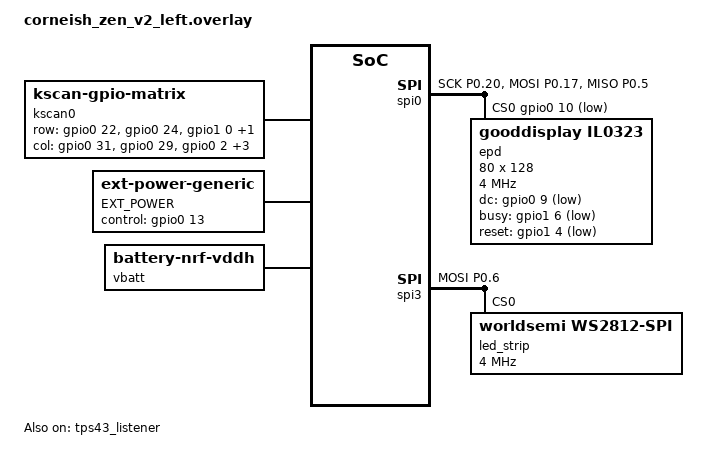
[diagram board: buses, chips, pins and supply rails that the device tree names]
/*
*
* Copyright (c) 2021 Darryl deHaan
* SPDX-License-Identifier: MIT
*
*/

#include "corneish_zen.dtsi"
#include <dt-bindings/led/led.h>
#include <zmk-input-inertia/input/processor/input_inertia.dtsi>

/ {
    chosen {
        zephyr,display = &epd;
        zmk,battery = &vbatt;
        zmk,underglow = &led_strip;
    };

    kscan0: kscan {
        compatible = "zmk,kscan-gpio-matrix";
        wakeup-source;
        diode-direction = "col2row";
        row-gpios
            = <&gpio0 22 (GPIO_ACTIVE_HIGH | GPIO_PULL_DOWN)>
            , <&gpio0 24 (GPIO_ACTIVE_HIGH | GPIO_PULL_DOWN)>
            , <&gpio1 0 (GPIO_ACTIVE_HIGH | GPIO_PULL_DOWN)>
            , <&gpio0 11 (GPIO_ACTIVE_HIGH | GPIO_PULL_DOWN)>
            ;

        col-gpios
            = <&gpio0 31 GPIO_ACTIVE_HIGH>
            , <&gpio0 29 GPIO_ACTIVE_HIGH>
            , <&gpio0 2 GPIO_ACTIVE_HIGH>
            , <&gpio1 15 GPIO_ACTIVE_HIGH>
            , <&gpio1 13 GPIO_ACTIVE_HIGH>
            , <&gpio1 11 GPIO_ACTIVE_HIGH>
            ;
    };

    ext-power {
        compatible = "zmk,ext-power-generic";
        label = "EXT_POWER";
        control-gpios = <&gpio0 13 GPIO_ACTIVE_HIGH>;
        init-delay-ms = <50>;
    };

    vbatt: vbatt {
        compatible = "zmk,battery-nrf-vddh";
    };
};

/*
 * The TPS43 is physically on the right peripheral. The input-split device in
 * corneish_zen.dtsi recreates its relative pointer events here on the central
 * half; this listener turns those events into HID mouse reports.
 */
&tps43_listener {
    status = "okay";
    input-processors = <&zip_inertia>;
};

/*
 * Trackball-like cursor momentum.
 *
 * TPS43 update rate is roughly 80 Hz, so 30 ms gives the processor enough
 * silence to distinguish a finger lift from ordinary packet jitter. The 93%
 * decay provides a noticeable glide without allowing long runaway motion.
 */
&zip_inertia {
    trigger-ms = <30>;

    move-decay-factor-int = <93>;
    move-report-interval-ms = <20>;
    move-threshold-start = <8>;
    move-threshold-stop = <1>;

    /* Keep wheel inertia conservative; native two-finger scrolling still works. */
    scroll-decay-factor-int = <85>;
    scroll-report-interval-ms = <50>;
    scroll-threshold-start = <2>;
    scroll-threshold-stop = <0>;
};

&pinctrl {
    spi0_default: spi0_default {
        group1 {
            psels = <NRF_PSEL(SPIM_SCK, 0, 20)>,
                    <NRF_PSEL(SPIM_MOSI, 0, 17)>,
                    <NRF_PSEL(SPIM_MISO, 0, 5)>;
        };
    };

    spi0_sleep: spi0_sleep {
        group1 {
            psels = <NRF_PSEL(SPIM_SCK, 0, 20)>,
                    <NRF_PSEL(SPIM_MOSI, 0, 17)>,
                    <NRF_PSEL(SPIM_MISO, 0, 5)>;
            low-power-enable;
        };
    };

    spi3_default: spi3_default {
        group1 {
            psels = <NRF_PSEL(SPIM_MOSI, 0, 6)>; // WS2812_VEXT_DATA
        };
    };

    spi3_sleep: spi3_sleep {
        group1 {
            psels = <NRF_PSEL(SPIM_MOSI, 0, 6)>;
            low-power-enable;
        };
    };
};

&spi0 {
    status = "okay";
    compatible = "nordic,nrf-spim";
    pinctrl-0 = <&spi0_default>;
    pinctrl-1 = <&spi0_sleep>;
    pinctrl-names = "default", "sleep";
    cs-gpios = <&gpio0 10 GPIO_ACTIVE_LOW>;

    epd: il0323@0 {
        compatible = "gooddisplay,il0323";
        reg = <0>;
        width = <80>;
        height = <128>;
        spi-max-frequency = <4000000>;
        dc-gpios = <&gpio0 9 GPIO_ACTIVE_LOW>;
        busy-gpios = <&gpio1 6 GPIO_ACTIVE_LOW>;
        reset-gpios = <&gpio1 4 GPIO_ACTIVE_LOW>;
        pwr = [03 00 26 26];
        cdi = <0xd2>;
        tcon = <0x22>;
    };
};

&spi3 {
    compatible = "nordic,nrf-spim";
    status = "okay";

    pinctrl-0 = <&spi3_default>;
    pinctrl-1 = <&spi3_sleep>;
    pinctrl-names = "default", "sleep";

    led_strip: ws2812@0 {
        compatible = "worldsemi,ws2812-spi";

        /* SPI */
        reg = <0>; /* ignored, but necessary for SPI bindings */
        spi-max-frequency = <4000000>;

        /* WS2812 */
        chain-length = <12>;
        spi-one-frame = <0x70>;
        spi-zero-frame = <0x40>;

        color-mapping = <LED_COLOR_ID_GREEN LED_COLOR_ID_RED LED_COLOR_ID_BLUE>;
    };
};
